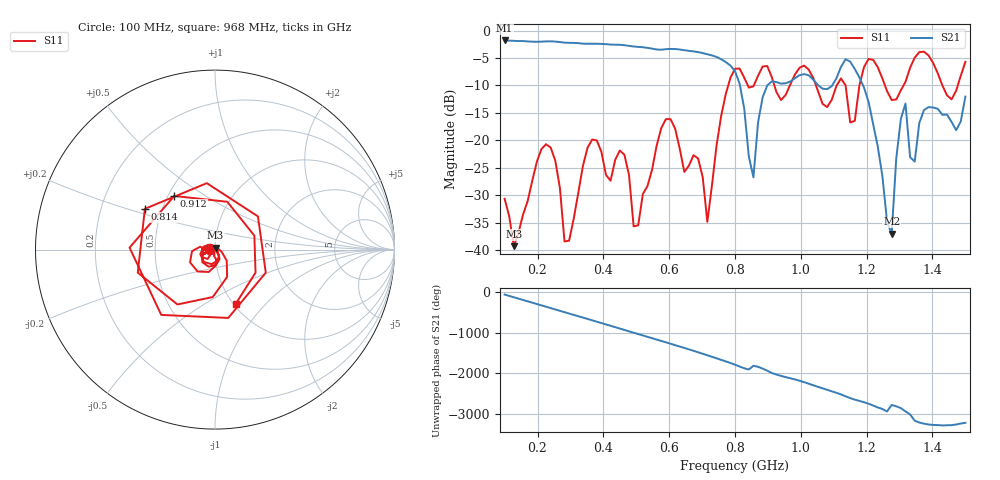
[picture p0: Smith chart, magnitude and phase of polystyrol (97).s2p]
! NanoVNA-App
! Date: 2025-09-26 09:42:38
! Start: 100MHz Stop: 1,5GHz Points: 101
! S-Parameter data: F S11 S21 S12 S22
# Hz S RI R 50
!  Frequency  S11_Real  S11_Imag  S21_Real  S21_Imag  S12_Real  S12_Imag  S22_Real  S22_Imag
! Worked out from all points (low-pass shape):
!   101 points, 100 MHz to 1.5 GHz, reference 50 ohm
!   highest |S21| = -1.79 dB at 100 MHz (marker M1); lowest = -37.0 dB at 1.276 GHz (marker M2)
!   |S21| within 3 dB of the highest: start of sweep to 743.7 MHz
!   lowest |S11| = -39.3 dB at 128 MHz (marker M3), VSWR 1.02, Z = 50.3 + j1.05 ohm
!   |S11| at or under -10 dB: start of sweep to 779.4 MHz; 1.046 GHz to 1.109 GHz (63.12 MHz wide, 5.86 % of centre); 1.256 GHz to 1.312 GHz (56.22 MHz wide, 4.38 % of centre)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
!   S12 and S22 are empty: the file has one direction only
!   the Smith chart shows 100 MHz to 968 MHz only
!   S11 on the Smith chart (normalised r, x): 100 MHz: 0.94, -0.01; 814 MHz: 0.40, +0.23; 912 MHz: 0.54, +0.37; 968 MHz: 1.03, -0.69
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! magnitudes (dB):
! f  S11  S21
! 100 MHz  -30.7  -1.8
! 128 MHz  -39.3  -1.9
! 212 MHz  -21.6  -2.0
! 254 MHz  -23.7  -2.0
! 282 MHz  -38.4  -2.2
! 338 MHz  -24.7  -2.4
! 464 MHz  -22.6  -2.6
! 506 MHz  -35.5  -3.0
! 576 MHz  -17.8  -3.5
! 688 MHz  -23.3  -3.9
! 716 MHz  -34.9  -4.3
! 800 MHz  -7.0  -7.4
! 814 MHz  -6.9  -9.6
! 856 MHz  -10.2  -26.8
! 912 MHz  -8.5  -9.2
! 968 MHz  -9.8  -9.3
! 1.038 GHz  -8.7  -9.0
! 1.178 GHz  -10.0  -8.5
! 1.276 GHz  -12.6  -37.0
! 1.318 GHz  -9.3  -13.3
! 1.346 GHz  -4.9  -23.9
! 1.5 GHz  -5.7  -12.0
